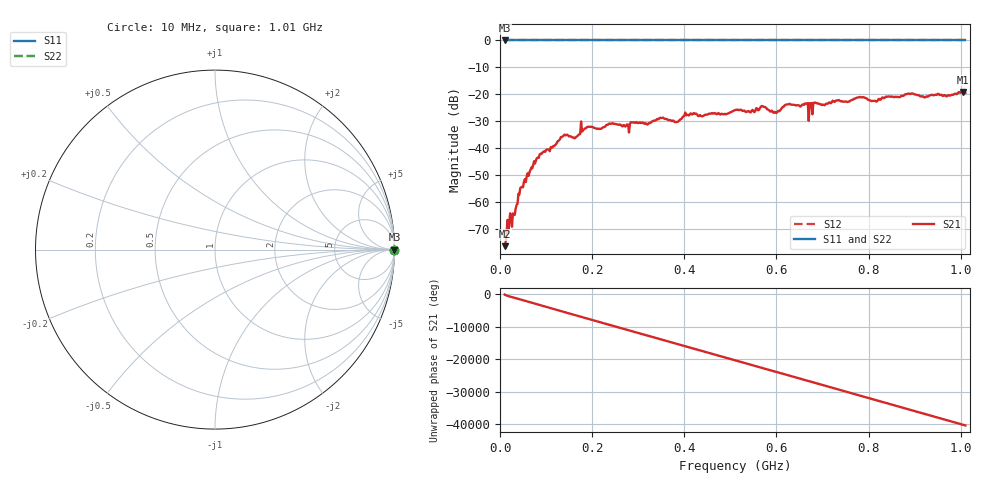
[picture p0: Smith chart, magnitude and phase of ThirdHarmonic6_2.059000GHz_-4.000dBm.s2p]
! 8/17/2025 12:40:23 AM
! C:\ANRITSUVNA\TEMP\TEMP.S2P
! CHANNEL.1
! TR.MEASUREMENT
! RAW.DATA
! RF.CORRECTION.OFF
! AVERAGING.OFF
! IF.BANDWIDTH: 5KHZ
! SWEEPTYPE:  FREQ.SWEEP(Linear)
! Reference Plane Port Info
! PORT:  PORT1  PORT2
! DISTANCE:  0  m  0  m
! TIME:  0  s  0  s
! PHASE.OFFSET:  0  deg.  0  deg.
! LOSS:  0  dB  0  dB
! REF.LOSS:  0  dB  0  dB
! REF.FREQ:  0  Hz  0  Hz
! Power Info
! POWER:  -20  dBm  -20  dBm
! EFF.POWER:  -20  dBm  -20  dBm
! SOURCE.ATTEN:  0  dB  0  dB
! TEST.ATTEN:  0  dB  0  dB
# GHZ S RI R 50.0
! FREQ.GHZ  S11RE  S11IM  S21RE  S21IM  S12RE  S12IM  S22RE  S22IM
!; PortSelection: Port_12
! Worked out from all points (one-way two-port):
!   501 points, 10 MHz to 1.01 GHz, reference 50 ohm
!   highest |S21| = -19.10 dB at 1.004 GHz (marker M1); lowest = -76.4 dB at 10 MHz (marker M2)
!   lowest |S11| = 0.0 dB at 10 MHz (marker M3)
!   |S11| at or under -10 dB: nowhere
!   |S22| runs from 0.0 to 0.0 dB; largest |S21 - S12| = 1.1
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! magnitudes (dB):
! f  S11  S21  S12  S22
! 10 MHz  0.0  -76.4  0.0  0.0
! 20 MHz  0.0  -67.8  0.0  0.0
! 30 MHz  0.0  -64.7  0.0  0.0
! 44 MHz  0.0  -54.8  0.0  0.0
! 78 MHz  0.0  -44.5  0.0  0.0
! 136 MHz  0.0  -35.6  0.0  0.0
! 164 MHz  0.0  -36.0  0.0  0.0
! 178 MHz  0.0  -33.8  0.0  0.0
! 276 MHz  0.0  -31.1  0.0  0.0
! 344 MHz  0.0  -29.3  0.0  0.0
! 384 MHz  0.0  -30.3  0.0  0.0
! 404 MHz  0.0  -27.8  0.0  0.0
! 510 MHz  0.0  -25.8  0.0  0.0
! 570 MHz  0.0  -24.4  0.0  0.0
! 598 MHz  0.0  -26.8  0.0  0.0
! 624 MHz  0.0  -23.8  0.0  0.0
! 664 MHz  0.0  -23.4  0.0  0.0
! 674 MHz  0.0  -23.3  0.0  0.0
! 678 MHz  0.0  -27.4  0.0  0.0
! 844 MHz  0.0  -20.7  0.0  0.0
! 1.004 GHz  0.0  -19.1  0.0  0.0
! 1.01 GHz  0.0  -19.5  0.0  0.0
